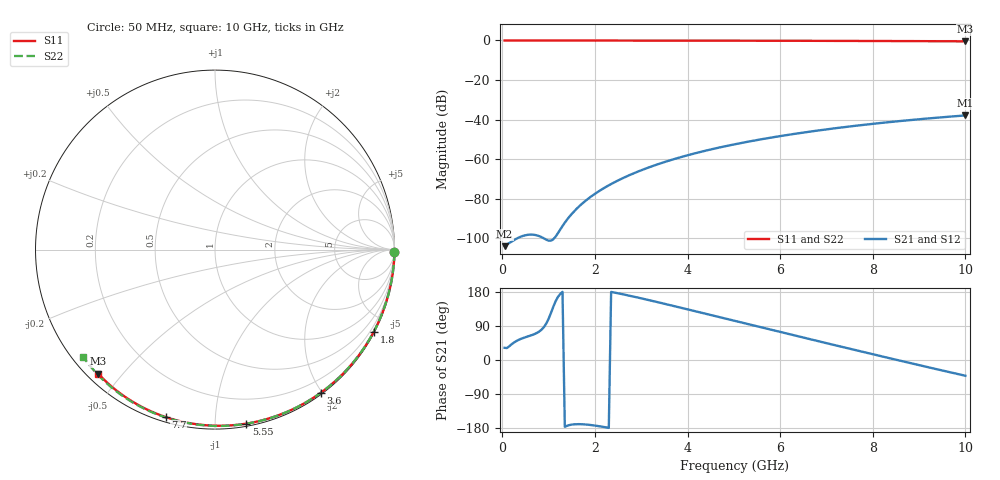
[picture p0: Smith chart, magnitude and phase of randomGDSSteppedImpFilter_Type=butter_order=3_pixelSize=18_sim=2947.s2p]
! freq	dB(S11)	phase(S11)	dB(S12)	phase(S12)
!  dB(S21)	phase(S21)	dB(S22)	phase(S22)
!S-par simulation data
#  GHz  S  DB  R 50
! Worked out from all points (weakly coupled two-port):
!   200 points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, 50 MHz to 10 GHz, reference 50 ohm
!   highest |S21| = -37.93 dB at 10 GHz (marker M1); lowest = -104.1 dB at 50 MHz (marker M2)
!   lowest |S11| = -0.4 dB at 10 GHz (marker M3), VSWR 38.82, Z = 1.53 - j21.6 ohm
!   |S11| at or under -10 dB: nowhere
!   |S22| runs from -0.5 to 0.0 dB; largest |S21 - S12| = 0
!   S11 on the Smith chart (normalised r, x): 50 MHz: open; 1.8 GHz: 0.04, -4.11; 3.6 GHz: 0.02, -1.99; 5.55 GHz: 0.02, -1.20; 7.7 GHz: 0.02, -0.75; 10 GHz: 0.03, -0.43
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0.05  -0.00 -0.8  -104.07 32.1  -104.07 32.1  -0.00 -0.8
0.45  -0.01 -6.9  -98.85 58.0  -98.85 58.0  -0.01 -7.3
0.9  -0.02 -13.8  -100.14 87.1  -100.14 87.1  -0.02 -14.6
1.75  -0.03 -26.6  -82.03 -169.7  -82.03 -169.7  -0.04 -28.1
1.8  -0.03 -27.3  -81.05 -170.2  -81.05 -170.2  -0.04 -28.9
1.85  -0.04 -28.1  -80.13 -170.7  -80.13 -170.7  -0.04 -29.7
2.15  -0.04 -32.5  -75.31 -175.9  -75.31 -175.9  -0.04 -34.4
2.35  -0.05 -35.4  -72.62 179.7  -72.62 179.7  -0.05 -37.5
2.55  -0.05 -38.4  -70.23 174.8  -70.23 174.8  -0.05 -40.6
2.95  -0.06 -44.2  -66.13 164.1  -66.13 164.1  -0.06 -46.7
3.4  -0.07 -50.6  -62.29 151.3  -62.29 151.3  -0.07 -53.5
3.6  -0.07 -53.4  -60.79 145.5  -60.79 145.5  -0.08 -56.4
3.9  -0.08 -57.6  -58.72 136.6  -58.72 136.6  -0.08 -60.8
4.3  -0.09 -63.1  -56.27 124.7  -56.27 124.7  -0.09 -66.6
5.05  -0.11 -73.2  -52.37 102.2  -52.37 102.2  -0.12 -77.3
5.55  -0.13 -79.7  -50.17 87.3  -50.17 87.3  -0.14 -84.1
6.1  -0.15 -86.8  -48.01 71.0  -48.01 71.0  -0.16 -91.6
6.7  -0.18 -94.3  -45.93 53.3  -45.93 53.3  -0.19 -99.5
7.7  -0.24 -106.5  -42.97 24.0  -42.97 24.0  -0.26 -112.3
8.35  -0.29 -114.2  -41.32 5.1  -41.32 5.1  -0.31 -120.5
9.2  -0.36 -124.0  -39.45 -19.2  -39.45 -19.2  -0.38 -131.0
10  -0.45 -133.2  -37.93 -41.6  -37.93 -41.6  -0.47 -140.9
